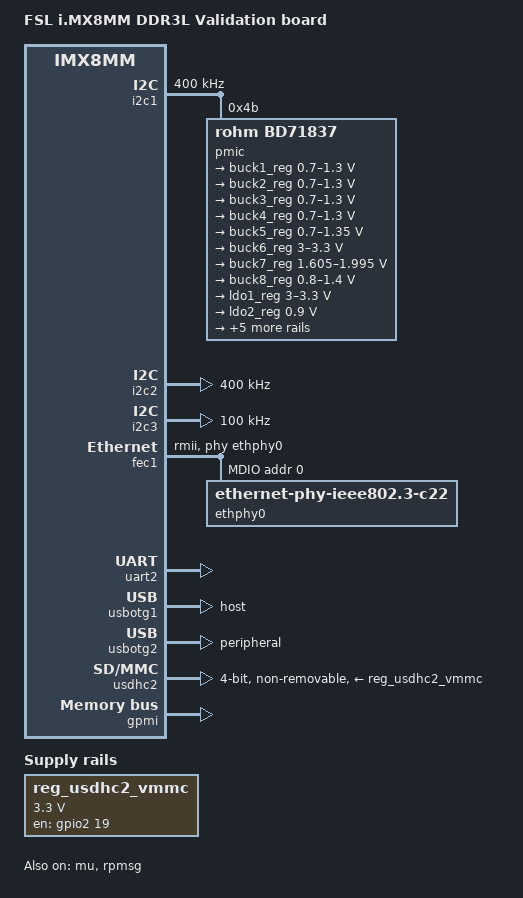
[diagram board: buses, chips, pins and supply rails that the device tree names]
// SPDX-License-Identifier: GPL-2.0+
 /*
  * Copyright 2018 NXP
  */

/dts-v1/;

#include "fsl-imx8mm.dtsi"

/ {
	model = "FSL i.MX8MM DDR3L Validation board";
	compatible = "fsl,imx8mm-val", "fsl,imx8mm";

	chosen {
		bootargs = "console=ttymxc1,115200 earlycon=ec_imx6q,0x30890000,115200";
		stdout-path = &uart2;
	};

	regulators {
		compatible = "simple-bus";
		#address-cells = <1>;
		#size-cells = <0>;

		reg_usdhc2_vmmc: regulator-usdhc2 {
			compatible = "regulator-fixed";
			regulator-name = "VSD_3V3";
			regulator-min-microvolt = <3300000>;
			regulator-max-microvolt = <3300000>;
			gpio = <&gpio2 19 GPIO_ACTIVE_HIGH>;
			enable-active-high;
		};
	};

	busfreq {
		status = "disabled";
	};
};

&iomuxc {
	pinctrl-names = "default";

	imx8mm-val {
		pinctrl_fec1: fec1grp {
			fsl,pins = <
				MX8MM_IOMUXC_ENET_MDC_ENET1_MDC		0x3
				MX8MM_IOMUXC_ENET_MDIO_ENET1_MDIO	0x23
				MX8MM_IOMUXC_ENET_TD2_ENET1_TX_CLK	0x4000001f
				MX8MM_IOMUXC_ENET_TD1_ENET1_RGMII_TD1	0x56
				MX8MM_IOMUXC_ENET_TD0_ENET1_RGMII_TD0	0x56
				MX8MM_IOMUXC_ENET_RD1_ENET1_RGMII_RD1	0x56
				MX8MM_IOMUXC_ENET_RD0_ENET1_RGMII_RD0	0x56
				MX8MM_IOMUXC_ENET_RXC_ENET1_RX_ER	0x56
				MX8MM_IOMUXC_ENET_RX_CTL_ENET1_RGMII_RX_CTL	0x56
				MX8MM_IOMUXC_ENET_TX_CTL_ENET1_RGMII_TX_CTL	0x56
			>;
		};

		pinctrl_i2c1: i2c1grp {
			fsl,pins = <
				MX8MM_IOMUXC_I2C1_SCL_I2C1_SCL			0x400001c3
				MX8MM_IOMUXC_I2C1_SDA_I2C1_SDA			0x400001c3
			>;
		};

		pinctrl_i2c2: i2c2grp {
			fsl,pins = <
				MX8MM_IOMUXC_I2C2_SCL_I2C2_SCL			0x400001c3
				MX8MM_IOMUXC_I2C2_SDA_I2C2_SDA			0x400001c3
			>;
		};

		pinctrl_i2c3: i2c3grp {
			fsl,pins = <
				MX8MM_IOMUXC_I2C3_SCL_I2C3_SCL			0x400001c3
				MX8MM_IOMUXC_I2C3_SDA_I2C3_SDA			0x400001c3
			>;
		};

		pinctrl_uart2: uart2grp {
			fsl,pins = <
				MX8MM_IOMUXC_UART2_RXD_UART2_DCE_RX	0x140
				MX8MM_IOMUXC_UART2_TXD_UART2_DCE_TX	0x140
			>;
		};

		pinctrl_usdhc2_gpio: usdhc2grpgpio {
			fsl,pins = <
				MX8MM_IOMUXC_SD2_RESET_B_GPIO2_IO19	0x41
			>;
		};

		pinctrl_usdhc2: usdhc2grp {
			fsl,pins = <
				MX8MM_IOMUXC_SD2_CLK_USDHC2_CLK		0x190
				MX8MM_IOMUXC_SD2_CMD_USDHC2_CMD		0x1d0
				MX8MM_IOMUXC_SD2_DATA0_USDHC2_DATA0	0x1d0
				MX8MM_IOMUXC_SD2_DATA1_USDHC2_DATA1	0x1d0
				MX8MM_IOMUXC_SD2_DATA2_USDHC2_DATA2	0x1d0
				MX8MM_IOMUXC_SD2_DATA3_USDHC2_DATA3	0x1d0
				MX8MM_IOMUXC_GPIO1_IO04_USDHC2_VSELECT	0x1d0
			>;
		};

		pinctrl_usdhc2_100mhz: usdhc2grp100mhz {
			fsl,pins = <
				MX8MM_IOMUXC_SD2_CLK_USDHC2_CLK		0x194
				MX8MM_IOMUXC_SD2_CMD_USDHC2_CMD		0x1d4
				MX8MM_IOMUXC_SD2_DATA0_USDHC2_DATA0	0x1d4
				MX8MM_IOMUXC_SD2_DATA1_USDHC2_DATA1	0x1d4
				MX8MM_IOMUXC_SD2_DATA2_USDHC2_DATA2	0x1d4
				MX8MM_IOMUXC_SD2_DATA3_USDHC2_DATA3	0x1d4
				MX8MM_IOMUXC_GPIO1_IO04_USDHC2_VSELECT	0x1d0
			>;
		};

		pinctrl_usdhc2_200mhz: usdhc2grp200mhz {
			fsl,pins = <
				MX8MM_IOMUXC_SD2_CLK_USDHC2_CLK		0x196
				MX8MM_IOMUXC_SD2_CMD_USDHC2_CMD		0x1d6
				MX8MM_IOMUXC_SD2_DATA0_USDHC2_DATA0	0x1d6
				MX8MM_IOMUXC_SD2_DATA1_USDHC2_DATA1	0x1d6
				MX8MM_IOMUXC_SD2_DATA2_USDHC2_DATA2	0x1d6
				MX8MM_IOMUXC_SD2_DATA3_USDHC2_DATA3	0x1d6
				MX8MM_IOMUXC_GPIO1_IO04_USDHC2_VSELECT	0x1d0
			>;
		};

		pinctrl_gpmi_nand_1: gpmi-nand-1 {
			fsl,pins = <
				MX8MM_IOMUXC_NAND_ALE_RAWNAND_ALE		0x00000096
				MX8MM_IOMUXC_NAND_CE0_B_RAWNAND_CE0_B		0x00000096
				MX8MM_IOMUXC_NAND_CLE_RAWNAND_CLE		0x00000096
				MX8MM_IOMUXC_NAND_DATA00_RAWNAND_DATA00		0x00000096
				MX8MM_IOMUXC_NAND_DATA01_RAWNAND_DATA01		0x00000096
				MX8MM_IOMUXC_NAND_DATA02_RAWNAND_DATA02		0x00000096
				MX8MM_IOMUXC_NAND_DATA03_RAWNAND_DATA03		0x00000096
				MX8MM_IOMUXC_NAND_DATA04_RAWNAND_DATA04		0x00000096
				MX8MM_IOMUXC_NAND_DATA05_RAWNAND_DATA05		0x00000096
				MX8MM_IOMUXC_NAND_DATA06_RAWNAND_DATA06		0x00000096
				MX8MM_IOMUXC_NAND_DATA07_RAWNAND_DATA07		0x00000096
				MX8MM_IOMUXC_NAND_RE_B_RAWNAND_RE_B		0x00000096
				MX8MM_IOMUXC_NAND_READY_B_RAWNAND_READY_B	0x00000056
				MX8MM_IOMUXC_NAND_WE_B_RAWNAND_WE_B		0x00000096
				MX8MM_IOMUXC_NAND_WP_B_RAWNAND_WP_B		0x00000096
			>;
		};
	};
};

&i2c1 {
	clock-frequency = <400000>;
	pinctrl-names = "default";
	pinctrl-0 = <&pinctrl_i2c1>;
	status = "okay";

	pmic: bd71837@4b {
		reg = <0x4b>;
		compatible = "rohm,bd71837";

		gpo {
			rohm,drv = <0x0C>;	/* 0b0000_1100 all gpos with cmos output mode */
		};

		regulators {
			#address-cells = <1>;
			#size-cells = <0>;

			bd71837,pmic-buck2-uses-i2c-dvs;
			bd71837,pmic-buck2-dvs-voltage = <1000000>, <900000>, <0>; /* VDD_ARM: Run-Idle */

			buck1_reg: regulator@0 {
				reg = <0>;
				regulator-compatible = "buck1";
				regulator-min-microvolt = <700000>;
				regulator-max-microvolt = <1300000>;
				regulator-boot-on;
				regulator-always-on;
				regulator-ramp-delay = <1250>;
			};

			buck2_reg: regulator@1 {
				reg = <1>;
				regulator-compatible = "buck2";
				regulator-min-microvolt = <700000>;
				regulator-max-microvolt = <1300000>;
				regulator-boot-on;
				regulator-always-on;
				regulator-ramp-delay = <1250>;
			};

			buck3_reg: regulator@2 {
				reg = <2>;
				regulator-compatible = "buck3";
				regulator-min-microvolt = <700000>;
				regulator-max-microvolt = <1300000>;
			};

			buck4_reg: regulator@3 {
				reg = <3>;
				regulator-compatible = "buck4";
				regulator-min-microvolt = <700000>;
				regulator-max-microvolt = <1300000>;
			};

			buck5_reg: regulator@4 {
				reg = <4>;
				regulator-compatible = "buck5";
				regulator-min-microvolt = <700000>;
				regulator-max-microvolt = <1350000>;
				regulator-boot-on;
				regulator-always-on;
			};

			buck6_reg: regulator@5 {
				reg = <5>;
				regulator-compatible = "buck6";
				regulator-min-microvolt = <3000000>;
				regulator-max-microvolt = <3300000>;
				regulator-boot-on;
				regulator-always-on;
			};

			buck7_reg: regulator@6 {
				reg = <6>;
				regulator-compatible = "buck7";
				regulator-min-microvolt = <1605000>;
				regulator-max-microvolt = <1995000>;
				regulator-boot-on;
				regulator-always-on;
			};

			buck8_reg: regulator@7 {
				reg = <7>;
				regulator-compatible = "buck8";
				regulator-min-microvolt = <800000>;
				regulator-max-microvolt = <1400000>;
				regulator-boot-on;
				regulator-always-on;
			};

			ldo1_reg: regulator@8 {
				reg = <8>;
				regulator-compatible = "ldo1";
				regulator-min-microvolt = <3000000>;
				regulator-max-microvolt = <3300000>;
				regulator-boot-on;
				regulator-always-on;
			};

			ldo2_reg: regulator@9 {
				reg = <9>;
				regulator-compatible = "ldo2";
				regulator-min-microvolt = <900000>;
				regulator-max-microvolt = <900000>;
				regulator-boot-on;
				regulator-always-on;
			};

			ldo3_reg: regulator@10 {
				reg = <10>;
				regulator-compatible = "ldo3";
				regulator-min-microvolt = <1800000>;
				regulator-max-microvolt = <3300000>;
				regulator-boot-on;
				regulator-always-on;
			};

			ldo4_reg: regulator@11 {
				reg = <11>;
				regulator-compatible = "ldo4";
				regulator-min-microvolt = <900000>;
				regulator-max-microvolt = <1800000>;
				regulator-boot-on;
				regulator-always-on;
			};

			ldo5_reg: regulator@12 {
				reg = <12>;
				regulator-compatible = "ldo5";
				regulator-min-microvolt = <1800000>;
				regulator-max-microvolt = <3300000>;
			};

			ldo6_reg: regulator@13 {
				reg = <13>;
				regulator-compatible = "ldo6";
				regulator-min-microvolt = <900000>;
				regulator-max-microvolt = <1800000>;
				regulator-boot-on;
				regulator-always-on;
			};

			ldo7_reg: regulator@14 {
				reg = <14>;
				regulator-compatible = "ldo7";
				regulator-min-microvolt = <1800000>;
				regulator-max-microvolt = <3300000>;
			};
		};
	};
};

&i2c2 {
	clock-frequency = <400000>;
	pinctrl-names = "default";
	pinctrl-0 = <&pinctrl_i2c2>;
	status = "okay";
};

&i2c3 {
	clock-frequency = <100000>;
	pinctrl-names = "default";
	pinctrl-0 = <&pinctrl_i2c3>;
	status = "okay";
};

&mu {
	status = "okay";
};

&rpmsg{
	/*
	 * 64K for one rpmsg instance:
	 * --0xb8000000~0xb800ffff: pingpong
	 */
	vdev-nums = <1>;
	reg = <0x0 0xb8000000 0x0 0x10000>;
	status = "okay";
};

&fec1 {
	pinctrl-names = "default";
	pinctrl-0 = <&pinctrl_fec1>;
	phy-mode = "rmii";
	phy-handle = <&ethphy0>;
	fsl,magic-packet;
	status = "okay";

	mdio {
		#address-cells = <1>;
		#size-cells = <0>;

		ethphy0: ethernet-phy@0 {
			compatible = "ethernet-phy-ieee802.3-c22";
			reg = <0>;
		};
	};
};

&uart2 { /* console */
	pinctrl-names = "default";
	pinctrl-0 = <&pinctrl_uart2>;
	status = "okay";
};

&usbotg1 {
	dr_mode = "host";
	status = "okay";
};

&usbotg2 {
	dr_mode = "peripheral";
	status = "okay";
};

&usdhc2 {
	pinctrl-names = "default", "state_100mhz", "state_200mhz";
	pinctrl-0 = <&pinctrl_usdhc2>, <&pinctrl_usdhc2_gpio>;
	pinctrl-1 = <&pinctrl_usdhc2_100mhz>, <&pinctrl_usdhc2_gpio>;
	pinctrl-2 = <&pinctrl_usdhc2_200mhz>, <&pinctrl_usdhc2_gpio>;
	bus-width = <4>;
	non-removable;
	vmmc-supply = <&reg_usdhc2_vmmc>;
	status = "okay";
};

&gpmi {
	pinctrl-names = "default";
	pinctrl-0 = <&pinctrl_gpmi_nand_1>;
	status = "okay";
	nand-on-flash-bbt;
};

&A53_0 {
	arm-supply = <&buck2_reg>;
};
